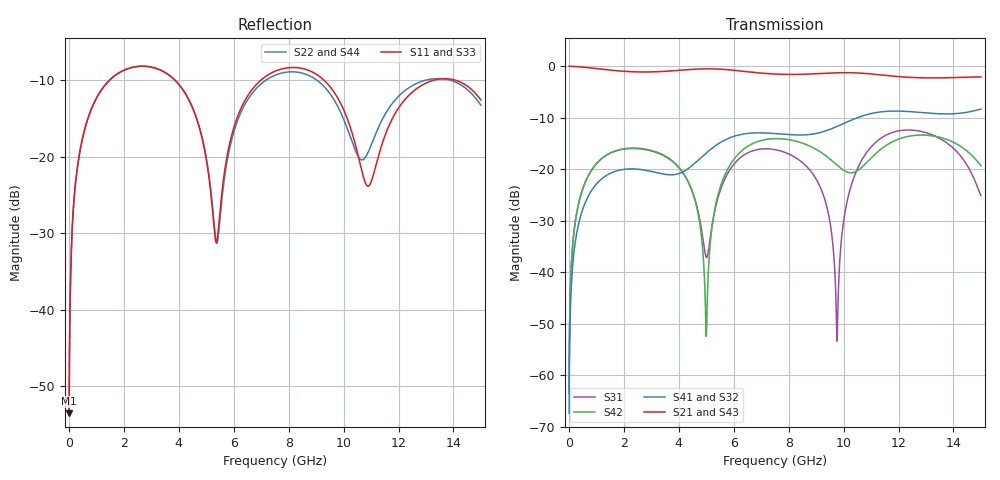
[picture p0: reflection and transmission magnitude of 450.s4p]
! Created with skrf 1.8.0 (http://scikit-rf.org).
# GHz S RI R 50.0
!freq ReS11 ImS11 ReS12 ImS12 ReS13 ImS13
! ReS14 ImS14
! ReS21 ImS21 ReS22 ImS22 ReS23 ImS23
! ReS24 ImS24
! ReS31 ImS31 ReS32 ImS32 ReS33 ImS33
! ReS34 ImS34
! ReS41 ImS41 ReS42 ImS42 ReS43 ImS43
! ReS44 ImS44
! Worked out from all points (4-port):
!   2499 points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, 5 MHz to 15 GHz, reference 50 ohm
!   strongest paths, dB at 5 MHz, 3.476 GHz, 7.19 GHz, 11.1 GHz, 15 GHz:
!     S21: 0.0, -1.0, -1.4, -1.6, -2.1
!     S43: 0.0, -1.0, -1.4, -1.6, -2.1
!     S41: -67.4, -21.0, -13.0, -9.1, -8.3
!     S32: -67.4, -21.1, -13.1, -9.1, -8.3
!     S42: -63.4, -17.4, -14.2, -17.3, -19.3
!     S31: -63.4, -17.5, -16.0, -15.1, -25.1
!   lowest |S11| = -53.6 dB at 5 MHz (marker M1), VSWR 1.00, Z = 50.2 + j0.127 ohm
!   |S11| at or under -10 dB: start of sweep to 1.467 GHz; 3.868 GHz to 6.978 GHz (3.11 GHz wide, 57.3 % of centre); 9.296 GHz to 13.26 GHz (3.96 GHz wide, 35.1 % of centre) (the widest 3 of 4)
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0.005  0.00167 0.00127  0.9983 -0.00325  8.42e-05 0.000673  -8.18e-05 -0.00042
       0.9983 -0.00325  0.00167 0.00127  -8.18e-05 -0.00042  8.43e-05 0.000673
       8.42e-05 0.000673  -8.18e-05 -0.00042  0.00167 0.00127  0.9983 -0.00325
       -8.18e-05 -0.00042  8.43e-05 0.000673  0.9983 -0.00325  0.00167 0.00127
1.619545  0.2885 0.1695  0.5081 -0.7523  0.1353 0.0586  -0.094 0.000984
          0.5081 -0.7523  0.2877 0.1701  -0.0938 0.000725  0.1377 0.055
          0.1353 0.0586  -0.0938 0.000725  0.2886 0.1694  0.5081 -0.7523
          -0.094 0.000984  0.1377 0.055  0.5081 -0.7523  0.2876 0.1702
5  0.045 -0.0852  -0.8981 -0.2821  -0.0136 -0.00317  -0.037 0.1387
   -0.8981 -0.2821  0.0461 -0.0873  -0.0404 0.1378  0.00239 1.17e-05
   -0.0136 -0.00317  -0.0404 0.1378  0.0442 -0.0857  -0.8981 -0.2821
   -0.037 0.1387  0.00239 1.17e-05  -0.8981 -0.2821  0.047 -0.0873
8.32847  0.3804 -0.0437  -0.00132 0.8308  0.1205 -0.0353  0.2059 -0.0602
         -0.00132 0.8308  0.3576 -0.0173  0.206 -0.052  0.1245 -0.1368
         0.1205 -0.0353  0.206 -0.052  0.3823 -0.0448  -0.0009 0.8305
         0.2059 -0.0602  0.1245 -0.1368  -0.0009 0.8305  0.3571 -0.0157
9.760317  0.176 -0.1736  0.6166 0.6013  0.00196 0.000869  0.1714 -0.195
          0.6166 0.6013  0.1786 -0.1256  0.1801 -0.1868  -0.0684 -0.0857
          0.00196 0.000869  0.1801 -0.1868  0.1761 -0.1754  0.6166 0.6008
          0.1714 -0.195  -0.0684 -0.0857  0.6166 0.6008  0.1812 -0.1247
11.28595  0.0885 0.0536  0.8159 -0.1183  0.1086 0.1598  -0.0852 -0.3472
          0.8159 -0.1183  0.136 0.0802  -0.0702 -0.3497  0.0359 0.1463
          0.1086 0.1598  -0.0702 -0.3497  0.0902 0.0553  0.8158 -0.119
          -0.0852 -0.3472  0.0359 0.1463  0.8158 -0.119  0.1356 0.0765
15  0.2016 -0.1217  -0.4521 -0.6414  -0.0222 -0.0509  -0.2952 0.2441
    -0.4521 -0.6414  0.1928 -0.1013  -0.3118 0.2216  -0.0421 -0.0996
    -0.0222 -0.0509  -0.3118 0.2216  0.1966 -0.1311  -0.4534 -0.6399
    -0.2952 0.2441  -0.0421 -0.0996  -0.4534 -0.6399  0.2002 -0.0925
